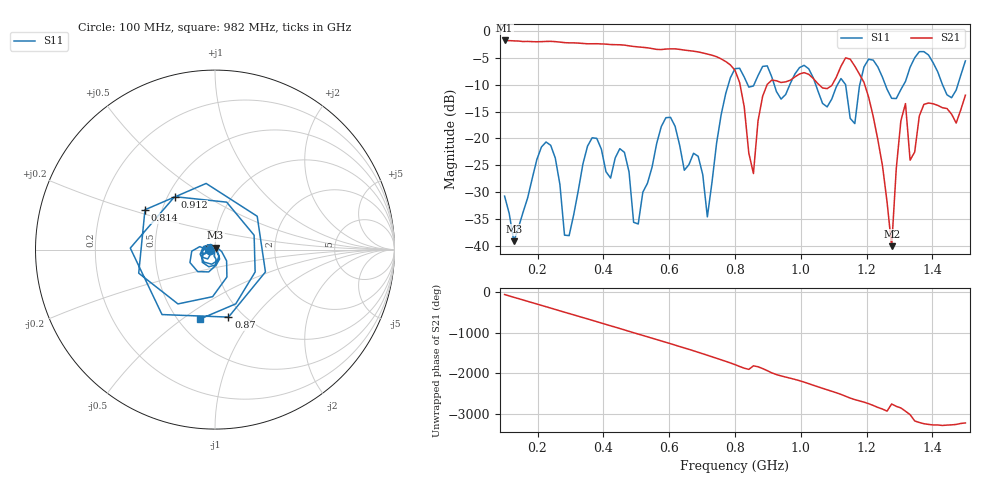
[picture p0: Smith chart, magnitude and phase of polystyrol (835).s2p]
! NanoVNA-App
! Date: 2025-09-25 15:36:23
! Start: 100MHz Stop: 1,5GHz Points: 101
! S-Parameter data: F S11 S21 S12 S22
# Hz S RI R 50
!  Frequency  S11_Real  S11_Imag  S21_Real  S21_Imag  S12_Real  S12_Imag  S22_Real  S22_Imag
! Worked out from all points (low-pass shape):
!   101 points, 100 MHz to 1.5 GHz, reference 50 ohm
!   highest |S21| = -1.80 dB at 100 MHz (marker M1); lowest = -40.0 dB at 1.276 GHz (marker M2)
!   |S21| within 3 dB of the highest: start of sweep to 743.1 MHz
!   lowest |S11| = -39.1 dB at 128 MHz (marker M3), VSWR 1.02, Z = 50.3 + j1.06 ohm
!   |S11| at or under -10 dB: start of sweep to 779.8 MHz; 1.045 GHz to 1.112 GHz (66.29 MHz wide, 6.15 % of centre); 1.257 GHz to 1.312 GHz (55.85 MHz wide, 4.35 % of centre) (the widest 3 of 7)
!   S12 and S22 are empty: the file has one direction only
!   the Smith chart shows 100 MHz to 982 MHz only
!   S11 on the Smith chart (normalised r, x): 100 MHz: 0.94, -0.01; 814 MHz: 0.40, +0.22; 870 MHz: 0.86, -0.75; 912 MHz: 0.54, +0.37; 982 MHz: 0.63, -0.58
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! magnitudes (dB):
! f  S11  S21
! 100 MHz  -30.7  -1.8
! 128 MHz  -39.1  -1.9
! 212 MHz  -21.6  -2.0
! 282 MHz  -38.0  -2.2
! 338 MHz  -24.7  -2.4
! 464 MHz  -22.6  -2.7
! 506 MHz  -35.9  -3.0
! 576 MHz  -17.8  -3.5
! 716 MHz  -34.6  -4.3
! 800 MHz  -7.0  -7.3
! 814 MHz  -7.0  -9.6
! 856 MHz  -10.2  -26.5
! 870 MHz  -8.3  -16.7
! 912 MHz  -8.6  -9.2
! 982 MHz  -8.0  -8.6
! 1.038 GHz  -8.8  -8.9
! 1.164 GHz  -17.2  -6.6
! 1.192 GHz  -6.7  -9.6
! 1.276 GHz  -12.5  -40.0
! 1.318 GHz  -9.4  -13.5
! 1.332 GHz  -6.8  -24.0
! 1.5 GHz  -5.6  -12.0
